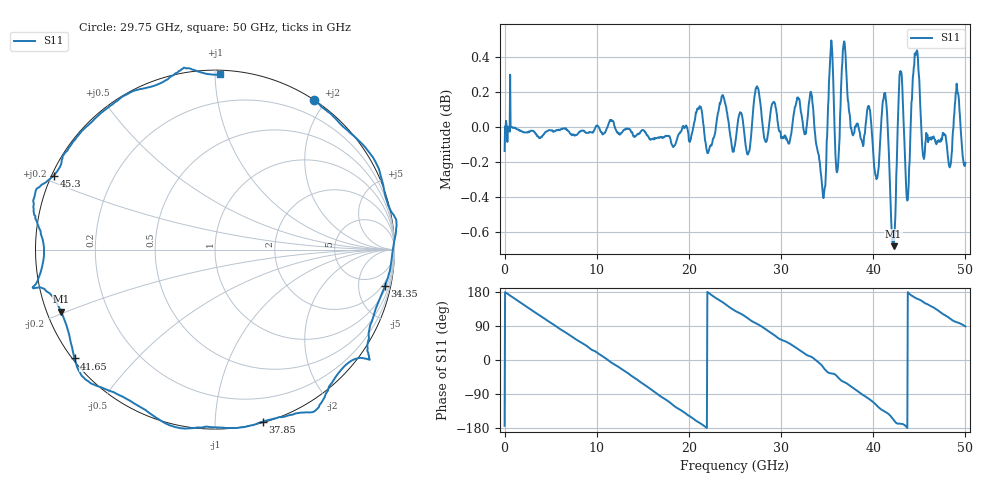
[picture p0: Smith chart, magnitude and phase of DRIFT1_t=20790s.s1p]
!Created with skrf (http://scikit-rf.org).
# Hz S RI R 50.0
!freq ReS11 ImS11
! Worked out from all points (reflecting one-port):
!   1001 points, 300 kHz to 50 GHz, reference 50 ohm
!   lowest |S11| = -0.7 dB at 42.2 GHz (marker M1), VSWR 25.45, Z = 2.04 - j9.68 ohm
!   phase of S11 starts at -174 deg and turns -818 deg over the sweep
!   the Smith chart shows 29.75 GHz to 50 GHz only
!   S11 on the Smith chart (normalised r, x): 29.75 GHz: 0.00, +1.86; 34.35 GHz: 1.39, -9.15; 37.85 GHz: 0.01, -1.32; 41.65 GHz: 0.01, -0.34; 45.3 GHz: 0.01, +0.22; 50 GHz: 0.02, +1.03
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300000  -0.9782 -0.1074
1.450291e9  -0.9123 0.4051
3.25028e9  -0.5918 0.8015
6.250262e9  0.2023 0.9781
9.450243e9  0.8864 0.4544
1.250022e10  0.9312 -0.3498
1.580021e10  0.2374 -0.9629
1.74002e10  -0.2234 -0.9681
1.875019e10  -0.5983 -0.7921
2.145017e10  -0.9941 -0.1666
2.345016e10  -0.9279 0.4153
2.500015e10  -0.6331 0.7584
2.740014e10  -0.0953 1.022
2.975012e10  0.5494 0.8333
3.125011e10  0.7874 0.6202
3.31001e10  1.003 0.1788
3.435009e10  0.9465 -0.2046
3.520009e10  0.8542 -0.5764
3.750008e10  0.3707 -0.9338
3.785007e10  0.2685 -0.958
3.960006e10  -0.2371 -0.9834
4.165005e10  -0.7823 -0.6061
4.220005e10  -0.8574 -0.3454
4.290004e10  -1.014 -0.2142
4.375004e10  -0.9531 0.0143
4.530003e10  -0.898 0.4126
4.770001e10  -0.4867 0.8671
5e10  0.0253 0.9762
